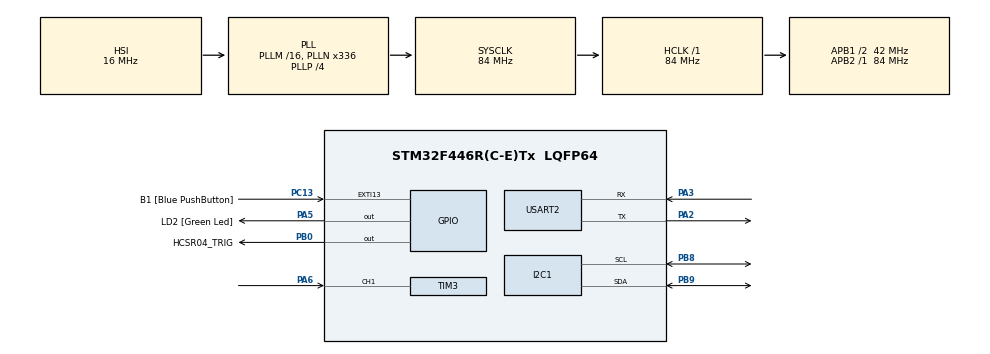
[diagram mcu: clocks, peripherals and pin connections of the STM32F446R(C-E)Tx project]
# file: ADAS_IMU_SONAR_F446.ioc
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Mcu.Family=STM32F4
Mcu.Name=STM32F446R(C-E)Tx
Mcu.Package=LQFP64
NVIC.PriorityGroup=NVIC_PRIORITYGROUP_0
NVIC.TIM2_IRQn=true\:0\:0\:false\:false\:true\:true\:true\:true
NVIC.TIM3_IRQn=true\:0\:0\:false\:false\:true\:true\:true\:true
PA13.GPIO_Label=TMS
PA13.Mode=Serial_Wire
PA13.Signal=SYS_JTMS-SWDIO
PA14.GPIO_Label=TCK
PA14.Mode=Serial_Wire
PA14.Signal=SYS_JTCK-SWCLK
PA2.Mode=Asynchronous
PA2.Signal=USART2_TX
PA3.Mode=Asynchronous
PA3.Signal=USART2_RX
PA5.GPIO_Label=LD2 [Green Led]
PA5.Signal=GPIO_Output
PA6.Signal=S_TIM3_CH1
PB0.GPIO_Label=HCSR04_TRIG
PB0.Signal=GPIO_Output
PB3.GPIO_Label=SWO
PB3.Signal=SYS_JTDO-SWO
PB8.Mode=I2C
PB8.Signal=I2C1_SCL
PB9.Mode=I2C
PB9.Signal=I2C1_SDA
PC13.GPIO_Label=B1 [Blue PushButton]
PC13.GPIO_ModeDefaultEXTI=GPIO_MODE_IT_FALLING
PC13.Signal=GPXTI13
PC14-OSC32_IN.Signal=RCC_OSC32_IN
PC15-OSC32_OUT.Signal=RCC_OSC32_OUT
PH0-OSC_IN.Mode=HSE-External-Oscillator
PH0-OSC_IN.Signal=RCC_OSC_IN
PH1-OSC_OUT.Mode=HSE-External-Oscillator
PH1-OSC_OUT.Signal=RCC_OSC_OUT
ProjectManager.HeapSize=0x200
ProjectManager.StackSize=0x400
ProjectManager.TargetToolchain=STM32CubeIDE
RCC.AHBFreq_Value=84000000
RCC.APB1CLKDivider=RCC_HCLK_DIV2
RCC.APB1Freq_Value=42000000
RCC.APB1TimFreq_Value=84000000
RCC.APB2Freq_Value=84000000
RCC.APB2TimFreq_Value=84000000
RCC.CortexFreq_Value=84000000
RCC.FLatency-AdvancedSettings=FLASH_LATENCY_2
RCC.HCLKFreq_Value=84000000
RCC.HSE_VALUE=8000000
RCC.HSI_VALUE=16000000
RCC.LSE_VALUE=32768
RCC.PLLN=336
RCC.PLLP=RCC_PLLP_DIV4
RCC.SYSCLKFreq_VALUE=84000000
RCC.SYSCLKSource=RCC_SYSCLKSOURCE_PLLCLK
RCC.USBFreq_Value=168000000
RCC.VCOOutputFreq_Value=336000000
SH.S_TIM3_CH1.0=TIM3_CH1,Input_Capture1_from_TI1
TIM2.Period=10-1
TIM2.Prescaler=8400-1
TIM3.Channel-Input_Capture1_from_TI1=TIM_CHANNEL_1
TIM3.Prescaler=84-1
USART2.VirtualMode=VM_ASYNC
VP_TIM2_VS_ClockSourceINT.Mode=Internal
VP_TIM3_VS_ClockSourceINT.Mode=Internal
board=NUCLEO-F446RE

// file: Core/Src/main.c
/* USER CODE BEGIN Header */
/**
  ******************************************************************************
  * @file           : main.c
  * @brief          : Main program body
  ******************************************************************************
  * @attention
  *
  * Copyright (c) 2025 STMicroelectronics.
  * All rights reserved.
  *
  * This software is licensed under terms that can be found in the LICENSE file
  * in the root directory of this software component.
  * If no LICENSE file comes with this software, it is provided AS-IS.
  *
  ******************************************************************************
  */
/* USER CODE END Header */
#include "main.h"

/* USER CODE BEGIN Includes */
#include "mpu6050.h"
#include "hcsr04.h"
#include <stdio.h>
#include <math.h>
#include <string.h>

/* USER CODE END Includes */

/* USER CODE BEGIN PTD */

typedef struct
{
    float ax, ay, az;      // g cinsinden
    float gx, gy, gz;      // dps
    float pitch, roll;     // derece
    float vx;              // ileri yöndeki hız (m/s)
} MotionState_t;

typedef struct
{
    float distance_m;      // metre
    float ttc_s;           // Time-To-Collision (s)
} ObstacleState_t;

typedef enum
{
    SAFETY_STATE_SAFE = 0,
    SAFETY_STATE_WARNING,
    SAFETY_STATE_CRITICAL
} SafetyState_t;

/* USER CODE END PTD */

I2C_HandleTypeDef hi2c1;

TIM_HandleTypeDef htim2;
TIM_HandleTypeDef htim3;

UART_HandleTypeDef huart2;

/* USER CODE BEGIN PV */

MotionState_t   g_motion;
ObstacleState_t g_obstacle;
SafetyState_t   g_safety_state = SAFETY_STATE_SAFE;

// Zaman damgaları (HAL_GetTick kullanacağız)
uint32_t last_imu_ms       = 0;   // 50 Hz (20 ms)
uint32_t last_sonar_ms     = 0;   // 20 Hz (50 ms)
uint32_t last_ttc_ms       = 0;   // 20 Hz (50 ms)
uint32_t last_state_ms     = 0;   // 50 Hz (20 ms)
uint32_t last_telemetry_ms = 0;   // 10 Hz (100 ms)

/* USER CODE END PV */

void SystemClock_Config(void);
static void MX_GPIO_Init(void);
static void MX_I2C1_Init(void);
static void MX_TIM2_Init(void);
static void MX_TIM3_Init(void);
static void MX_USART2_UART_Init(void);

/* USER CODE BEGIN 0 */

#define HARD_BRAKE_ACC_G      (-0.5f)   // ileri eksende ani fren
#define IMPACT_ACC_G          (2.5f)    // çarpma ivmesi (toplam)

// Mesafe eşikleri (m cinsinden)
#define WARN_DISTANCE_M       (1.2f)
#define CRIT_DISTANCE_M       (0.5f)

// TTC eşikleri (saniye)
#define WARN_TTC_S            (1.0f)
#define CRIT_TTC_S            (0.5f)

// Basit low-pass için alpha
#define LPF_ALPHA             (0.2f)

void Task_IMU(float dt);
void Task_Sonar(void);
void Task_Compute_TTC(void);
void Task_Update_Safety_State(void);
void Task_Send_Telemetry(void);

/* USER CODE END 0 */

int main(void)
{

  /* MCU Configuration--------------------------------------------------------*/

  /* Reset of all peripherals, Initializes the Flash interface and the Systick. */
  HAL_Init();

  /* Configure the system clock */
  SystemClock_Config();

  /* Initialize all configured peripherals */
  MX_GPIO_Init();
  MX_I2C1_Init();
  MX_TIM2_Init();
  MX_TIM3_Init();
  MX_USART2_UART_Init();
  /* USER CODE BEGIN 2 */

  if (MPU6050_Init(&hi2c1) != HAL_OK)
    {
        const char err[] = "MPU6050 init FAILED\r\n";
        HAL_UART_Transmit(&huart2, (uint8_t*)err, sizeof(err)-1, 100);
    }
    else
    {
        const char ok[] = "MPU6050 init OK\r\n";
        HAL_UART_Transmit(&huart2, (uint8_t*)ok, sizeof(ok)-1, 100);
    }

    // HC-SR04 init (TIM3 Input Capture başlatır)
    HCSR04_Init();

    // Başlangıç değerlerini sıfırla
    memset(&g_motion,    0, sizeof(g_motion));
    memset(&g_obstacle,  0, sizeof(g_obstacle));

    g_obstacle.ttc_s      = 999.0f;
    g_safety_state        = SAFETY_STATE_SAFE;

    last_imu_ms           = HAL_GetTick();
    last_sonar_ms         = HAL_GetTick();
    last_ttc_ms           = HAL_GetTick();
    last_state_ms         = HAL_GetTick();
    last_telemetry_ms     = HAL_GetTick();

  /* USER CODE END 2 */

  /* Infinite loop */
  while (1)
  {

    /* USER CODE BEGIN 3 */
	    uint32_t now = HAL_GetTick();

	      // 50 Hz: IMU + açı + hız + crash detection
	      if ((now - last_imu_ms) >= 20)
	      {
	          float dt = (now - last_imu_ms) / 1000.0f;
	          last_imu_ms = now;
	          Task_IMU(dt);
	      }

	      // 20 Hz: Sonar ölçümü
	      if ((now - last_sonar_ms) >= 50)
	      {
	          last_sonar_ms = now;
	          Task_Sonar();
	      }

	      // 20 Hz: TTC hesabı
	      if ((now - last_ttc_ms) >= 50)
	      {
	          last_ttc_ms = now;
	          Task_Compute_TTC();
	      }

	      // 50 Hz: Safety state machine
	      if ((now - last_state_ms) >= 20)
	      {
	          last_state_ms = now;
	          Task_Update_Safety_State();
	      }

	      // 10 Hz: Telemetry
	      if ((now - last_telemetry_ms) >= 100)
	      {
	          last_telemetry_ms = now;
	          Task_Send_Telemetry();
	      }

  }
  /* USER CODE END 3 */
}

void SystemClock_Config(void)
{
  RCC_OscInitTypeDef RCC_OscInitStruct = {0};
  RCC_ClkInitTypeDef RCC_ClkInitStruct = {0};

  /** Configure the main internal regulator output voltage
  */
  __HAL_RCC_PWR_CLK_ENABLE();
  __HAL_PWR_VOLTAGESCALING_CONFIG(PWR_REGULATOR_VOLTAGE_SCALE3);

  /** Initializes the RCC Oscillators according to the specified parameters
  * in the RCC_OscInitTypeDef structure.
  */
  RCC_OscInitStruct.OscillatorType = RCC_OSCILLATORTYPE_HSI;
  RCC_OscInitStruct.HSIState = RCC_HSI_ON;
  RCC_OscInitStruct.HSICalibrationValue = RCC_HSICALIBRATION_DEFAULT;
  RCC_OscInitStruct.PLL.PLLState = RCC_PLL_ON;
  RCC_OscInitStruct.PLL.PLLSource = RCC_PLLSOURCE_HSI;
  RCC_OscInitStruct.PLL.PLLM = 16;
  RCC_OscInitStruct.PLL.PLLN = 336;
  RCC_OscInitStruct.PLL.PLLP = RCC_PLLP_DIV4;
  RCC_OscInitStruct.PLL.PLLQ = 2;
  RCC_OscInitStruct.PLL.PLLR = 2;
  if (HAL_RCC_OscConfig(&RCC_OscInitStruct) != HAL_OK)
  {
    Error_Handler();
  }

  /** Initializes the CPU, AHB and APB buses clocks
  */
  RCC_ClkInitStruct.ClockType = RCC_CLOCKTYPE_HCLK|RCC_CLOCKTYPE_SYSCLK
                              |RCC_CLOCKTYPE_PCLK1|RCC_CLOCKTYPE_PCLK2;
  RCC_ClkInitStruct.SYSCLKSource = RCC_SYSCLKSOURCE_PLLCLK;
  RCC_ClkInitStruct.AHBCLKDivider = RCC_SYSCLK_DIV1;
  RCC_ClkInitStruct.APB1CLKDivider = RCC_HCLK_DIV2;
  RCC_ClkInitStruct.APB2CLKDivider = RCC_HCLK_DIV1;

  if (HAL_RCC_ClockConfig(&RCC_ClkInitStruct, FLASH_LATENCY_2) != HAL_OK)
  {
    Error_Handler();
  }
}

static void MX_I2C1_Init(void)
{

  hi2c1.Instance = I2C1;
  hi2c1.Init.ClockSpeed = 100000;
  hi2c1.Init.DutyCycle = I2C_DUTYCYCLE_2;
  hi2c1.Init.OwnAddress1 = 0;
  hi2c1.Init.AddressingMode = I2C_ADDRESSINGMODE_7BIT;
  hi2c1.Init.DualAddressMode = I2C_DUALADDRESS_DISABLE;
  hi2c1.Init.OwnAddress2 = 0;
  hi2c1.Init.GeneralCallMode = I2C_GENERALCALL_DISABLE;
  hi2c1.Init.NoStretchMode = I2C_NOSTRETCH_DISABLE;
  if (HAL_I2C_Init(&hi2c1) != HAL_OK)
  {
    Error_Handler();
  }

}

static void MX_TIM2_Init(void)
{

  TIM_ClockConfigTypeDef sClockSourceConfig = {0};
  TIM_MasterConfigTypeDef sMasterConfig = {0};

  htim2.Instance = TIM2;
  htim2.Init.Prescaler = 8400-1;
  htim2.Init.CounterMode = TIM_COUNTERMODE_UP;
  htim2.Init.Period = 10-1;
  htim2.Init.ClockDivision = TIM_CLOCKDIVISION_DIV1;
  htim2.Init.AutoReloadPreload = TIM_AUTORELOAD_PRELOAD_DISABLE;
  if (HAL_TIM_Base_Init(&htim2) != HAL_OK)
  {
    Error_Handler();
  }
  sClockSourceConfig.ClockSource = TIM_CLOCKSOURCE_INTERNAL;
  if (HAL_TIM_ConfigClockSource(&htim2, &sClockSourceConfig) != HAL_OK)
  {
    Error_Handler();
  }
  sMasterConfig.MasterOutputTrigger = TIM_TRGO_RESET;
  sMasterConfig.MasterSlaveMode = TIM_MASTERSLAVEMODE_DISABLE;
  if (HAL_TIMEx_MasterConfigSynchronization(&htim2, &sMasterConfig) != HAL_OK)
  {
    Error_Handler();
  }

}

static void MX_TIM3_Init(void)
{

  TIM_ClockConfigTypeDef sClockSourceConfig = {0};
  TIM_MasterConfigTypeDef sMasterConfig = {0};
  TIM_IC_InitTypeDef sConfigIC = {0};

  htim3.Instance = TIM3;
  htim3.Init.Prescaler = 84-1;
  htim3.Init.CounterMode = TIM_COUNTERMODE_UP;
  htim3.Init.Period = 65535;
  htim3.Init.ClockDivision = TIM_CLOCKDIVISION_DIV1;
  htim3.Init.AutoReloadPreload = TIM_AUTORELOAD_PRELOAD_DISABLE;
  if (HAL_TIM_Base_Init(&htim3) != HAL_OK)
  {
    Error_Handler();
  }
  sClockSourceConfig.ClockSource = TIM_CLOCKSOURCE_INTERNAL;
  if (HAL_TIM_ConfigClockSource(&htim3, &sClockSourceConfig) != HAL_OK)
  {
    Error_Handler();
  }
  if (HAL_TIM_IC_Init(&htim3) != HAL_OK)
  {
    Error_Handler();
  }
  sMasterConfig.MasterOutputTrigger = TIM_TRGO_RESET;
  sMasterConfig.MasterSlaveMode = TIM_MASTERSLAVEMODE_DISABLE;
  if (HAL_TIMEx_MasterConfigSynchronization(&htim3, &sMasterConfig) != HAL_OK)
  {
    Error_Handler();
  }
  sConfigIC.ICPolarity = TIM_INPUTCHANNELPOLARITY_RISING;
  sConfigIC.ICSelection = TIM_ICSELECTION_DIRECTTI;
  sConfigIC.ICPrescaler = TIM_ICPSC_DIV1;
  sConfigIC.ICFilter = 0;
  if (HAL_TIM_IC_ConfigChannel(&htim3, &sConfigIC, TIM_CHANNEL_1) != HAL_OK)
  {
    Error_Handler();
  }

}

static void MX_USART2_UART_Init(void)
{

  huart2.Instance = USART2;
  huart2.Init.BaudRate = 115200;
  huart2.Init.WordLength = UART_WORDLENGTH_8B;
  huart2.Init.StopBits = UART_STOPBITS_1;
  huart2.Init.Parity = UART_PARITY_NONE;
  huart2.Init.Mode = UART_MODE_TX_RX;
  huart2.Init.HwFlowCtl = UART_HWCONTROL_NONE;
  huart2.Init.OverSampling = UART_OVERSAMPLING_16;
  if (HAL_UART_Init(&huart2) != HAL_OK)
  {
    Error_Handler();
  }

}

static void MX_GPIO_Init(void)
{
  GPIO_InitTypeDef GPIO_InitStruct = {0};

  /* GPIO Ports Clock Enable */
  __HAL_RCC_GPIOC_CLK_ENABLE();
  __HAL_RCC_GPIOH_CLK_ENABLE();
  __HAL_RCC_GPIOA_CLK_ENABLE();
  __HAL_RCC_GPIOB_CLK_ENABLE();

  /*Configure GPIO pin Output Level */
  HAL_GPIO_WritePin(LD2_GPIO_Port, LD2_Pin, GPIO_PIN_RESET);

  /*Configure GPIO pin Output Level */
  HAL_GPIO_WritePin(HCSR04_TRIG_GPIO_Port, HCSR04_TRIG_Pin, GPIO_PIN_RESET);

  /*Configure GPIO pin : B1_Pin */
  GPIO_InitStruct.Pin = B1_Pin;
  GPIO_InitStruct.Mode = GPIO_MODE_IT_FALLING;
  GPIO_InitStruct.Pull = GPIO_NOPULL;
  HAL_GPIO_Init(B1_GPIO_Port, &GPIO_InitStruct);

  /*Configure GPIO pin : LD2_Pin */
  GPIO_InitStruct.Pin = LD2_Pin;
  GPIO_InitStruct.Mode = GPIO_MODE_OUTPUT_PP;
  GPIO_InitStruct.Pull = GPIO_NOPULL;
  GPIO_InitStruct.Speed = GPIO_SPEED_FREQ_LOW;
  HAL_GPIO_Init(LD2_GPIO_Port, &GPIO_InitStruct);

  /*Configure GPIO pin : HCSR04_TRIG_Pin */
  GPIO_InitStruct.Pin = HCSR04_TRIG_Pin;
  GPIO_InitStruct.Mode = GPIO_MODE_OUTPUT_PP;
  GPIO_InitStruct.Pull = GPIO_NOPULL;
  GPIO_InitStruct.Speed = GPIO_SPEED_FREQ_LOW;
  HAL_GPIO_Init(HCSR04_TRIG_GPIO_Port, &GPIO_InitStruct);

}

/* USER CODE BEGIN 4 */

void Task_IMU(float dt)
{
    MPU6050_Proc_t imu;

    if (MPU6050_ReadProcessed(&hi2c1, dt, &imu) != HAL_OK)
        return;

    // g_motion'a kopyala
    g_motion.ax    = imu.ax_g;
    g_motion.ay    = imu.ay_g;
    g_motion.az    = imu.az_g;
    g_motion.gx    = imu.gx_dps;
    g_motion.gy    = imu.gy_dps;
    g_motion.gz    = imu.gz_dps;
    g_motion.pitch = imu.pitch_deg;
    g_motion.roll  = imu.roll_deg;

    // İleri eksen=ax kabul ederek hız entegrasyonu (çok kaba, demo amaçlı)
    float acc_forward_mps2 = g_motion.ax * 9.81f;
    g_motion.vx += acc_forward_mps2 * dt;

    // Hızı biraz sınırlayalım (kaçmaması için)
    if (g_motion.vx > 50.0f)  g_motion.vx = 50.0f;
    if (g_motion.vx < -50.0f) g_motion.vx = -50.0f;
}

void Task_Sonar(void)
{
    HCSR04_Measurement_t m = HCSR04_Measure();

    if (m.status == HAL_OK)
    {
        // Basit low-pass
        g_obstacle.distance_m =
            (1.0f - LPF_ALPHA) * g_obstacle.distance_m +
            LPF_ALPHA * m.distance_m;
    }
    else
    {
        // Ölçüm hatası → istersen distance'i değiştirme
        // g_obstacle.distance_m aynı kalsın
    }
}

void Task_Compute_TTC(void)
{
    float d = g_obstacle.distance_m;
    float v = g_motion.vx;

    if (d > 0.05f && v > 0.1f)
    {
        g_obstacle.ttc_s = d / v;
    }
    else
    {
        g_obstacle.ttc_s = 999.0f; // çok uzak veya hareket yok
    }
}

void Task_Update_Safety_State(void)
{
    SafetyState_t new_state = g_safety_state;

    float ax   = g_motion.ax;
    float d    = g_obstacle.distance_m;
    float ttc  = g_obstacle.ttc_s;

    // Toplam ivmeyi hesaplayalım (çarpma tespiti için)
    float acc_total_g = sqrtf(g_motion.ax*g_motion.ax +
                              g_motion.ay*g_motion.ay +
                              g_motion.az*g_motion.az);
    uint8_t impact = (acc_total_g > IMPACT_ACC_G);

    switch (g_safety_state)
    {
        case SAFETY_STATE_SAFE:
            if (impact || (d < CRIT_DISTANCE_M) || (ttc < CRIT_TTC_S))
            {
                new_state = SAFETY_STATE_CRITICAL;
            }
            else if ((d < WARN_DISTANCE_M) ||
                     (ttc < WARN_TTC_S) ||
                     (ax < HARD_BRAKE_ACC_G))
            {
                new_state = SAFETY_STATE_WARNING;
            }
            break;

        case SAFETY_STATE_WARNING:
            if (impact || (d < CRIT_DISTANCE_M) || (ttc < CRIT_TTC_S))
            {
                new_state = SAFETY_STATE_CRITICAL;
            }
            else if ((d > WARN_DISTANCE_M * 1.2f) &&
                     (ttc > WARN_TTC_S * 1.5f) &&
                     (ax > HARD_BRAKE_ACC_G * 0.5f))
            {
                new_state = SAFETY_STATE_SAFE;
            }
            break;

        case SAFETY_STATE_CRITICAL:
            // Çarpma bitmiş, mesafe açılmış, TTC rahatlamış ise WARNING'e döner
            if (!impact &&
                (d > WARN_DISTANCE_M * 1.5f) &&
                (ttc > WARN_TTC_S * 2.0f))
            {
                new_state = SAFETY_STATE_WARNING;
            }
            break;
    }

    g_safety_state = new_state;

    // LED ile görselleştirme (Nucleo'da PA5 LED)
    switch (g_safety_state)
    {
        case SAFETY_STATE_SAFE:
            HAL_GPIO_WritePin(LD2_GPIO_Port, LD2_Pin, GPIO_PIN_RESET); // LED kapalı
            break;
        case SAFETY_STATE_WARNING:
            // Blink
            HAL_GPIO_TogglePin(LD2_GPIO_Port, LD2_Pin);
            break;
        case SAFETY_STATE_CRITICAL:
            HAL_GPIO_WritePin(LD2_GPIO_Port, LD2_Pin, GPIO_PIN_SET);   // LED sürekli yanık
            break;
    }
}

void Task_Send_Telemetry(void)
{
    char buf[180];
    int len = snprintf(buf, sizeof(buf),
                       "AX:%.2f AY:%.2f AZ:%.2f | "
                       "Vx:%.2f m/s | "
                       "Dist:%.2f m TTC:%.2f s | "
                       "Pitch:%.1f Roll:%.1f | "
                       "State:%d\r\n",
                       g_motion.ax, g_motion.ay, g_motion.az,
                       g_motion.vx,
                       g_obstacle.distance_m, g_obstacle.ttc_s,
                       g_motion.pitch, g_motion.roll,
                       g_safety_state);

    if (len > 0)
    {
        HAL_UART_Transmit(&huart2, (uint8_t*)buf, len, 100);
    }
}

/* USER CODE END 4 */

/* USER CODE END 4 */

void Error_Handler(void)
{
  __disable_irq();
  while (1)
  {
  }
}
